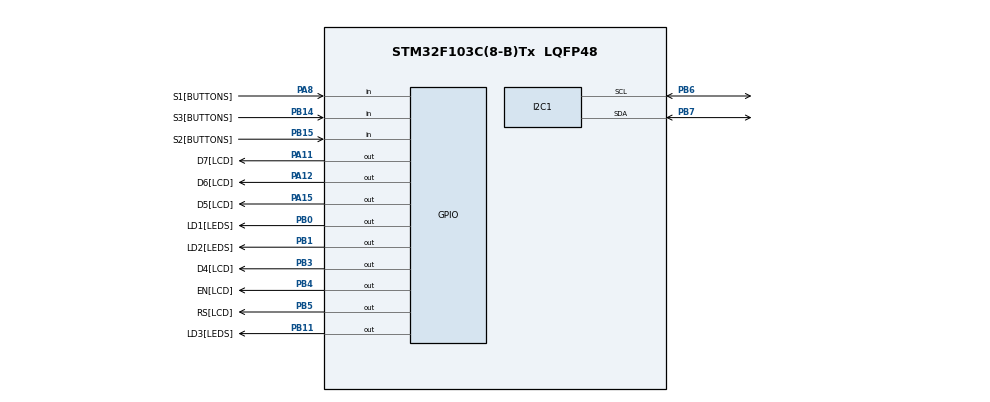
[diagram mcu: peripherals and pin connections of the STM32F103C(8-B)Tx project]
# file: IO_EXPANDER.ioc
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I2C1.I2C_Mode=I2C_Standard
Mcu.Family=STM32F1
Mcu.Name=STM32F103C(8-B)Tx
Mcu.Package=LQFP48
NVIC.PriorityGroup=NVIC_PRIORITYGROUP_4
PA11.GPIO_Label=D7[LCD]
PA11.Signal=GPIO_Output
PA12.GPIO_Label=D6[LCD]
PA12.Signal=GPIO_Output
PA13.Mode=Serial_Wire
PA13.Signal=SYS_JTMS-SWDIO
PA14.Mode=Serial_Wire
PA14.Signal=SYS_JTCK-SWCLK
PA15.GPIO_Label=D5[LCD]
PA15.Signal=GPIO_Output
PA8.GPIO_Label=S1[BUTTONS]
PA8.Signal=GPIO_Input
PB0.GPIO_Label=LD1[LEDS]
PB0.Signal=GPIO_Output
PB1.GPIO_Label=LD2[LEDS]
PB1.Signal=GPIO_Output
PB11.GPIO_Label=LD3[LEDS]
PB11.Signal=GPIO_Output
PB14.GPIO_Label=S3[BUTTONS]
PB14.Signal=GPIO_Input
PB15.GPIO_Label=S2[BUTTONS]
PB15.Signal=GPIO_Input
PB3.GPIO_Label=D4[LCD]
PB3.Signal=GPIO_Output
PB4.GPIO_Label=EN[LCD]
PB4.Signal=GPIO_Output
PB5.GPIO_Label=RS[LCD]
PB5.Signal=GPIO_Output
PB6.Mode=I2C
PB6.Signal=I2C1_SCL
PB7.Mode=I2C
PB7.Signal=I2C1_SDA
ProjectManager.HeapSize=0x200
ProjectManager.StackSize=0x400
ProjectManager.TargetToolchain=TrueSTUDIO
RCC.APB1Freq_Value=8000000
RCC.APB2Freq_Value=8000000
board=IO_EXPANDER

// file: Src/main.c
/**
  ******************************************************************************
  * @file           : main.c
  * @brief          : Main program body
  ******************************************************************************
  ** This notice applies to any and all portions of this file
  * that are not between comment pairs USER CODE BEGIN and
  * USER CODE END. Other portions of this file, whether
  * inserted by the user or by software development tools
  * are owned by their respective copyright owners.
  *
  * COPYRIGHT(c) 2018 STMicroelectronics
  *
  * Redistribution and use in source and binary forms, with or without modification,
  * are permitted provided that the following conditions are met:
  *   1. Redistributions of source code must retain the above copyright notice,
  *      this list of conditions and the following disclaimer.
  *   2. Redistributions in binary form must reproduce the above copyright notice,
  *      this list of conditions and the following disclaimer in the documentation
  *      and/or other materials provided with the distribution.
  *   3. Neither the name of STMicroelectronics nor the names of its contributors
  *      may be used to endorse or promote products derived from this software
  *      without specific prior written permission.
  *
  * THIS SOFTWARE IS PROVIDED BY THE COPYRIGHT HOLDERS AND CONTRIBUTORS "AS IS"
  * AND ANY EXPRESS OR IMPLIED WARRANTIES, INCLUDING, BUT NOT LIMITED TO, THE
  * IMPLIED WARRANTIES OF MERCHANTABILITY AND FITNESS FOR A PARTICULAR PURPOSE ARE
  * DISCLAIMED. IN NO EVENT SHALL THE COPYRIGHT HOLDER OR CONTRIBUTORS BE LIABLE
  * FOR ANY DIRECT, INDIRECT, INCIDENTAL, SPECIAL, EXEMPLARY, OR CONSEQUENTIAL
  * DAMAGES (INCLUDING, BUT NOT LIMITED TO, PROCUREMENT OF SUBSTITUTE GOODS OR
  * SERVICES; LOSS OF USE, DATA, OR PROFITS; OR BUSINESS INTERRUPTION) HOWEVER
  * CAUSED AND ON ANY THEORY OF LIABILITY, WHETHER IN CONTRACT, STRICT LIABILITY,
  * OR TORT (INCLUDING NEGLIGENCE OR OTHERWISE) ARISING IN ANY WAY OUT OF THE USE
  * OF THIS SOFTWARE, EVEN IF ADVISED OF THE POSSIBILITY OF SUCH DAMAGE.
  *
  ******************************************************************************
  */
#include "main.h"
#include "stm32f1xx_hal.h"

I2C_HandleTypeDef hi2c1;

/* USER CODE BEGIN PV */
/* Private variables ---------------------------------------------------------*/

uint8_t data[2]={0x40,0x01};
uint8_t data1=0x01;
uint8_t i=0,j=0;

/* USER CODE END PV */

void SystemClock_Config(void);
static void MX_GPIO_Init(void);
static void MX_I2C1_Init(void);

/* USER CODE BEGIN PFP */
/* Private function prototypes -----------------------------------------------*/

/* USER CODE END PFP */

/* USER CODE BEGIN 0 */

void write_lcd (uint8_t data, uint8_t cmd_data)
{
	// identifica comando ou dado
	if (cmd_data) HAL_GPIO_WritePin(RS_GPIO_Port, RS_Pin, GPIO_PIN_SET);
	else 					HAL_GPIO_WritePin(RS_GPIO_Port, RS_Pin, GPIO_PIN_RESET);

	// 4 bits high
	if (data & 0x80) HAL_GPIO_WritePin (D7_GPIO_Port, D7_Pin, GPIO_PIN_SET);
	else						 HAL_GPIO_WritePin (D7_GPIO_Port, D7_Pin, GPIO_PIN_RESET);
	if (data & 0x40) HAL_GPIO_WritePin (D6_GPIO_Port, D6_Pin, GPIO_PIN_SET);
	else						 HAL_GPIO_WritePin (D6_GPIO_Port, D6_Pin, GPIO_PIN_RESET);
	if (data & 0x20) HAL_GPIO_WritePin (D5_GPIO_Port, D5_Pin, GPIO_PIN_SET);
	else						 HAL_GPIO_WritePin (D5_GPIO_Port, D5_Pin, GPIO_PIN_RESET);
	if (data & 0x10) HAL_GPIO_WritePin (D4_GPIO_Port, D4_Pin, GPIO_PIN_SET);
	else						 HAL_GPIO_WritePin (D4_GPIO_Port, D4_Pin, GPIO_PIN_RESET);

	HAL_GPIO_WritePin(EN_GPIO_Port, EN_Pin, GPIO_PIN_SET);
	HAL_Delay(2);
	HAL_GPIO_WritePin(EN_GPIO_Port, EN_Pin, GPIO_PIN_RESET);

	// 4 bits Low
	if (data & 0x08) HAL_GPIO_WritePin (D7_GPIO_Port, D7_Pin, GPIO_PIN_SET);
	else						 HAL_GPIO_WritePin (D7_GPIO_Port, D7_Pin, GPIO_PIN_RESET);
	if (data & 0x04) HAL_GPIO_WritePin (D6_GPIO_Port, D6_Pin, GPIO_PIN_SET);
	else						 HAL_GPIO_WritePin (D6_GPIO_Port, D6_Pin, GPIO_PIN_RESET);
	if (data & 0x02) HAL_GPIO_WritePin (D5_GPIO_Port, D5_Pin, GPIO_PIN_SET);
	else						 HAL_GPIO_WritePin (D5_GPIO_Port, D5_Pin, GPIO_PIN_RESET);
	if (data & 0x01) HAL_GPIO_WritePin (D4_GPIO_Port, D4_Pin, GPIO_PIN_SET);
	else						 HAL_GPIO_WritePin (D4_GPIO_Port, D4_Pin, GPIO_PIN_RESET);

	HAL_GPIO_WritePin(EN_GPIO_Port, EN_Pin, GPIO_PIN_SET);
	HAL_Delay(2);
	HAL_GPIO_WritePin(EN_GPIO_Port, EN_Pin, GPIO_PIN_RESET);
}

/* init_LCD - Inicializa o display em 4bits */
void init_lcd(void)
{
	write_lcd(0x33, 0);
	write_lcd(0x32, 0);
	write_lcd(0x28, 0);
	write_lcd(0x06, 0);
	write_lcd(0x0C, 0);
	write_lcd(0x01, 0);
}

/* string_lcd - escreve string no LCD */
void string_lcd (char *string)
{
	while(*string) write_lcd(*string++, 1);
}

/* USER CODE END 0 */

int main(void)
{

  /* MCU Configuration----------------------------------------------------------*/

  /* Reset of all peripherals, Initializes the Flash interface and the Systick. */
  HAL_Init();

  /* Configure the system clock */
  SystemClock_Config();

  /* Initialize all configured peripherals */
  MX_GPIO_Init();
  MX_I2C1_Init();
  /* USER CODE BEGIN 2 */

  	  init_lcd();
 	  write_lcd(0x84,0);
 	  string_lcd("DSF 2018");
 	  write_lcd(0xC5,0);
 	  string_lcd("LNNANO");

 	  HAL_I2C_Master_Transmit(&hi2c1,0x40,data,2,100);

  /* USER CODE END 2 */

  /* Infinite loop */
  while (1)
  {

  /* USER CODE BEGIN 3 */

	  for(i=0;i<8;i++)
	  {
		  HAL_I2C_Master_Transmit(&hi2c1,0x40,data,2,100);
		  HAL_Delay(500);
		  data[1]=data[1]<<1;
	  }
	  data[1]=0x01;

  }
  /* USER CODE END 3 */

}

void SystemClock_Config(void)
{

  RCC_OscInitTypeDef RCC_OscInitStruct;
  RCC_ClkInitTypeDef RCC_ClkInitStruct;

    /**Initializes the CPU, AHB and APB busses clocks
    */
  RCC_OscInitStruct.OscillatorType = RCC_OSCILLATORTYPE_HSI;
  RCC_OscInitStruct.HSIState = RCC_HSI_ON;
  RCC_OscInitStruct.HSICalibrationValue = 16;
  RCC_OscInitStruct.PLL.PLLState = RCC_PLL_NONE;
  if (HAL_RCC_OscConfig(&RCC_OscInitStruct) != HAL_OK)
  {
    _Error_Handler(__FILE__, __LINE__);
  }

    /**Initializes the CPU, AHB and APB busses clocks
    */
  RCC_ClkInitStruct.ClockType = RCC_CLOCKTYPE_HCLK|RCC_CLOCKTYPE_SYSCLK
                              |RCC_CLOCKTYPE_PCLK1|RCC_CLOCKTYPE_PCLK2;
  RCC_ClkInitStruct.SYSCLKSource = RCC_SYSCLKSOURCE_HSI;
  RCC_ClkInitStruct.AHBCLKDivider = RCC_SYSCLK_DIV1;
  RCC_ClkInitStruct.APB1CLKDivider = RCC_HCLK_DIV1;
  RCC_ClkInitStruct.APB2CLKDivider = RCC_HCLK_DIV1;

  if (HAL_RCC_ClockConfig(&RCC_ClkInitStruct, FLASH_LATENCY_0) != HAL_OK)
  {
    _Error_Handler(__FILE__, __LINE__);
  }

    /**Configure the Systick interrupt time
    */
  HAL_SYSTICK_Config(HAL_RCC_GetHCLKFreq()/1000);

    /**Configure the Systick
    */
  HAL_SYSTICK_CLKSourceConfig(SYSTICK_CLKSOURCE_HCLK);

  /* SysTick_IRQn interrupt configuration */
  HAL_NVIC_SetPriority(SysTick_IRQn, 0, 0);
}

/* I2C1 init function */
static void MX_I2C1_Init(void)
{

  hi2c1.Instance = I2C1;
  hi2c1.Init.ClockSpeed = 100000;
  hi2c1.Init.DutyCycle = I2C_DUTYCYCLE_2;
  hi2c1.Init.OwnAddress1 = 0;
  hi2c1.Init.AddressingMode = I2C_ADDRESSINGMODE_7BIT;
  hi2c1.Init.DualAddressMode = I2C_DUALADDRESS_DISABLE;
  hi2c1.Init.OwnAddress2 = 0;
  hi2c1.Init.GeneralCallMode = I2C_GENERALCALL_DISABLE;
  hi2c1.Init.NoStretchMode = I2C_NOSTRETCH_DISABLE;
  if (HAL_I2C_Init(&hi2c1) != HAL_OK)
  {
    _Error_Handler(__FILE__, __LINE__);
  }

}

/** Configure pins as
        * Analog
        * Input
        * Output
        * EVENT_OUT
        * EXTI
*/
static void MX_GPIO_Init(void)
{

  GPIO_InitTypeDef GPIO_InitStruct;

  /* GPIO Ports Clock Enable */
  __HAL_RCC_GPIOB_CLK_ENABLE();
  __HAL_RCC_GPIOA_CLK_ENABLE();

  /*Configure GPIO pin Output Level */
  HAL_GPIO_WritePin(GPIOB, LD1_Pin|LD2_Pin|LD3_Pin|D4_Pin
                          |EN_Pin|RS_Pin, GPIO_PIN_RESET);

  /*Configure GPIO pin Output Level */
  HAL_GPIO_WritePin(GPIOA, D7_Pin|D6_Pin|D5_Pin, GPIO_PIN_RESET);

  /*Configure GPIO pins : LD1_Pin LD2_Pin LD3_Pin D4_Pin
                           EN_Pin RS_Pin */
  GPIO_InitStruct.Pin = LD1_Pin|LD2_Pin|LD3_Pin|D4_Pin
                          |EN_Pin|RS_Pin;
  GPIO_InitStruct.Mode = GPIO_MODE_OUTPUT_PP;
  GPIO_InitStruct.Speed = GPIO_SPEED_FREQ_LOW;
  HAL_GPIO_Init(GPIOB, &GPIO_InitStruct);

  /*Configure GPIO pins : S3_Pin S2_Pin */
  GPIO_InitStruct.Pin = S3_Pin|S2_Pin;
  GPIO_InitStruct.Mode = GPIO_MODE_INPUT;
  GPIO_InitStruct.Pull = GPIO_NOPULL;
  HAL_GPIO_Init(GPIOB, &GPIO_InitStruct);

  /*Configure GPIO pin : S1_Pin */
  GPIO_InitStruct.Pin = S1_Pin;
  GPIO_InitStruct.Mode = GPIO_MODE_INPUT;
  GPIO_InitStruct.Pull = GPIO_NOPULL;
  HAL_GPIO_Init(S1_GPIO_Port, &GPIO_InitStruct);

  /*Configure GPIO pins : D7_Pin D6_Pin D5_Pin */
  GPIO_InitStruct.Pin = D7_Pin|D6_Pin|D5_Pin;
  GPIO_InitStruct.Mode = GPIO_MODE_OUTPUT_PP;
  GPIO_InitStruct.Speed = GPIO_SPEED_FREQ_LOW;
  HAL_GPIO_Init(GPIOA, &GPIO_InitStruct);

}

void _Error_Handler(char *file, int line)
{
  while(1)
  {
  }
}

/************************ (C) COPYRIGHT STMicroelectronics *****END OF FILE****/
